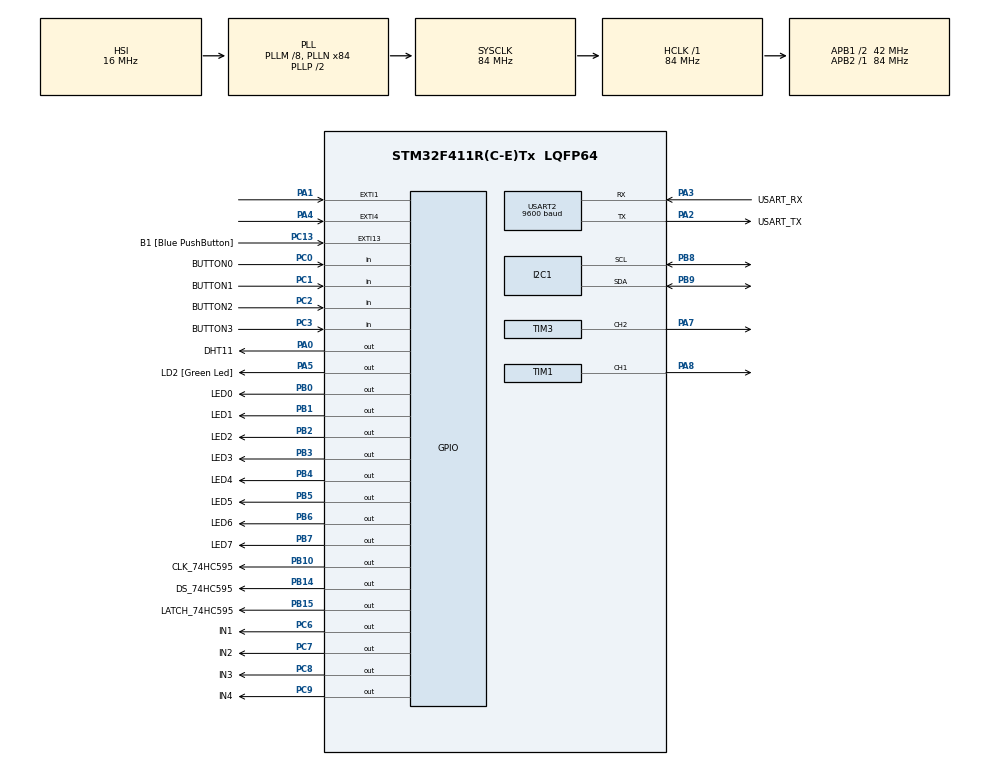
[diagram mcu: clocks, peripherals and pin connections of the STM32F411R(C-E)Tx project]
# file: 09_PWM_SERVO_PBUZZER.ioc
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FREERTOS.Tasks01=defaultTask,24,128,StartDefaultTask,Default,NULL,Dynamic,NULL,NULL;myTask01,8,128,StartTask01,Default,NULL,Dynamic,NULL,NULL;myTask02,8,128,StartTask02,Default,NULL,Dynamic,NULL,NULL
FREERTOS.configUSE_NEWLIB_REENTRANT=1
Mcu.Family=STM32F4
Mcu.Name=STM32F411R(C-E)Tx
Mcu.Package=LQFP64
NVIC.EXTI1_IRQn=true\:5\:0\:false\:false\:true\:true\:true\:true
NVIC.EXTI4_IRQn=true\:5\:0\:false\:false\:true\:true\:true\:true
NVIC.PriorityGroup=NVIC_PRIORITYGROUP_4
NVIC.TIM1_TRG_COM_TIM11_IRQn=true\:5\:0\:false\:false\:true\:true\:false\:true
NVIC.TIM1_UP_TIM10_IRQn=true\:5\:0\:false\:false\:true\:true\:true\:true
NVIC.TimeBase=TIM1_TRG_COM_TIM11_IRQn
NVIC.TimeBaseIP=TIM11
NVIC.USART2_IRQn=true\:5\:0\:false\:false\:true\:true\:true\:true
PA0-WKUP.GPIO_Label=DHT11
PA0-WKUP.Signal=GPIO_Output
PA1.Signal=GPXTI1
PA13.GPIO_Label=TMS
PA13.Mode=Serial_Wire
PA13.Signal=SYS_JTMS-SWDIO
PA14.GPIO_Label=TCK
PA14.Mode=Serial_Wire
PA14.Signal=SYS_JTCK-SWCLK
PA2.GPIO_Label=USART_TX
PA2.Mode=Asynchronous
PA2.Signal=USART2_TX
PA3.GPIO_Label=USART_RX
PA3.Mode=Asynchronous
PA3.Signal=USART2_RX
PA4.Signal=GPXTI4
PA5.GPIO_Label=LD2 [Green Led]
PA5.Signal=GPIO_Output
PA7.Signal=S_TIM3_CH2
PA8.Signal=S_TIM1_CH1
PB0.GPIO_Label=LED0
PB0.Signal=GPIO_Output
PB1.GPIO_Label=LED1
PB1.Signal=GPIO_Output
PB10.GPIO_Label=CLK_74HC595
PB10.Signal=GPIO_Output
PB14.GPIO_Label=DS_74HC595
PB14.Signal=GPIO_Output
PB15.GPIO_Label=LATCH_74HC595
PB15.Signal=GPIO_Output
PB2.GPIO_Label=LED2
PB2.Signal=GPIO_Output
PB3.GPIO_Label=LED3
PB3.Signal=GPIO_Output
PB4.GPIO_Label=LED4
PB4.Signal=GPIO_Output
PB5.GPIO_Label=LED5
PB5.Signal=GPIO_Output
PB6.GPIO_Label=LED6
PB6.Signal=GPIO_Output
PB7.GPIO_Label=LED7
PB7.Signal=GPIO_Output
PB8.Mode=I2C
PB8.Signal=I2C1_SCL
PB9.Mode=I2C
PB9.Signal=I2C1_SDA
PC0.GPIO_Label=BUTTON0
PC0.Signal=GPIO_Input
PC1.GPIO_Label=BUTTON1
PC1.Signal=GPIO_Input
PC13-ANTI_TAMP.GPIO_Label=B1 [Blue PushButton]
PC13-ANTI_TAMP.GPIO_ModeDefaultEXTI=GPIO_MODE_IT_FALLING
PC13-ANTI_TAMP.Signal=GPXTI13
PC14-OSC32_IN.Mode=LSE-External-Oscillator
PC14-OSC32_IN.Signal=RCC_OSC32_IN
PC15-OSC32_OUT.Mode=LSE-External-Oscillator
PC15-OSC32_OUT.Signal=RCC_OSC32_OUT
PC2.GPIO_Label=BUTTON2
PC2.Signal=GPIO_Input
PC3.GPIO_Label=BUTTON3
PC3.Signal=GPIO_Input
PC6.GPIO_Label=IN1
PC6.Signal=GPIO_Output
PC7.GPIO_Label=IN2
PC7.Signal=GPIO_Output
PC8.GPIO_Label=IN3
PC8.Signal=GPIO_Output
PC9.GPIO_Label=IN4
PC9.Signal=GPIO_Output
PH0\ -\ OSC_IN.Mode=HSE-External-Clock-Source
PH0\ -\ OSC_IN.Signal=RCC_OSC_IN
PH1\ -\ OSC_OUT.Mode=HSE-External-Clock-Source
PH1\ -\ OSC_OUT.Signal=RCC_OSC_OUT
ProjectManager.HeapSize=0x200
ProjectManager.StackSize=0x400
ProjectManager.TargetToolchain=STM32CubeIDE
RCC.48MHZClocksFreq_Value=42000000
RCC.AHBFreq_Value=84000000
RCC.APB1CLKDivider=RCC_HCLK_DIV2
RCC.APB1Freq_Value=42000000
RCC.APB1TimFreq_Value=84000000
RCC.APB2Freq_Value=84000000
RCC.APB2TimFreq_Value=84000000
RCC.CortexFreq_Value=84000000
RCC.FLatency-AdvancedSettings=FLASH_LATENCY_2
RCC.HCLKFreq_Value=84000000
RCC.HSE_VALUE=8000000
RCC.HSI_VALUE=16000000
RCC.PLLM=8
RCC.PLLN=84
RCC.SYSCLKFreq_VALUE=84000000
RCC.SYSCLKSource=RCC_SYSCLKSOURCE_PLLCLK
RCC.VCOOutputFreq_Value=168000000
RTC.Date=8
RTC.Hours=14
RTC.Minutes=38
RTC.Month=RTC_MONTH_OCTOBER
RTC.WeekDay=RTC_WEEKDAY_TUESDAY
SH.S_TIM1_CH1.0=TIM1_CH1,PWM Generation1 CH1
SH.S_TIM3_CH2.0=TIM3_CH2,PWM Generation2 CH2
TIM1.Channel-PWM\ Generation1\ CH1=TIM_CHANNEL_1
TIM1.Period=400-1
TIM1.Prescaler=52.5-1
TIM1.Pulse-PWM\ Generation1\ CH1=200-1
TIM10.Period=1000-1
TIM10.Prescaler=84-1
TIM2.Prescaler=84-1
TIM3.Channel-PWM\ Generation2\ CH2=TIM_CHANNEL_2
TIM3.Period=1000-1
TIM3.Prescaler=1680-1
USART2.BaudRate=9600
USART2.VirtualMode=VM_ASYNC
VP_FREERTOS_VS_CMSIS_V2.Mode=CMSIS_V2
VP_RTC_VS_RTC_Activate.Mode=RTC_Enabled
VP_RTC_VS_RTC_Calendar.Mode=RTC_Calendar
VP_SYS_VS_tim11.Mode=TIM11
VP_TIM10_VS_ClockSourceINT.Mode=Enable_Timer
VP_TIM1_VS_ClockSourceINT.Mode=Internal
VP_TIM2_VS_ClockSourceINT.Mode=Internal
VP_TIM3_VS_ClockSourceINT.Mode=Internal
board=NUCLEO-F411RE

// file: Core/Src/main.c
/* USER CODE BEGIN Header */
/**
  ******************************************************************************
  * @file           : main.c
  * @brief          : Main program body
  ******************************************************************************
  * @attention
  *
  * <h2><center>&copy; Copyright (c) 2024 STMicroelectronics.
  * All rights reserved.</center></h2>
  *
  * This software component is licensed by ST under BSD 3-Clause license,
  * the "License"; You may not use this file except in compliance with the
  * License. You may obtain a copy of the License at:
  *                        opensource.org/licenses/BSD-3-Clause
  *
  ******************************************************************************
  */
/* USER CODE END Header */
#include "main.h"
#include "cmsis_os.h"

I2C_HandleTypeDef hi2c1;

RTC_HandleTypeDef hrtc;

TIM_HandleTypeDef htim1;
TIM_HandleTypeDef htim2;
TIM_HandleTypeDef htim3;
TIM_HandleTypeDef htim10;

UART_HandleTypeDef huart2;

/* Definitions for defaultTask */
osThreadId_t defaultTaskHandle;
const osThreadAttr_t defaultTask_attributes = {
  .name = "defaultTask",
  .stack_size = 128 * 4,
  .priority = (osPriority_t) osPriorityNormal,
};
/* Definitions for myTask01 */
osThreadId_t myTask01Handle;
const osThreadAttr_t myTask01_attributes = {
  .name = "myTask01",
  .stack_size = 128 * 4,
  .priority = (osPriority_t) osPriorityLow,
};
/* Definitions for myTask02 */
osThreadId_t myTask02Handle;
const osThreadAttr_t myTask02_attributes = {
  .name = "myTask02",
  .stack_size = 128 * 4,
  .priority = (osPriority_t) osPriorityLow,
};
/* USER CODE BEGIN PV */
volatile int TIM10_1ms_counter = 0;  // ADD_PSJ_0930
volatile int TIM10_1ms_counter1 = 0;
volatile int TIM10_DHT11_counter = 0;
volatile int TIM10_servomotor_counter = 0;
uint8_t rx_data;
/* USER CODE END PV */

void SystemClock_Config(void);
static void MX_GPIO_Init(void);
static void MX_USART2_UART_Init(void);
static void MX_TIM10_Init(void);
static void MX_TIM2_Init(void);
static void MX_RTC_Init(void);
static void MX_I2C1_Init(void);
static void MX_TIM3_Init(void);
static void MX_TIM1_Init(void);
void StartDefaultTask(void *argument);
void StartTask01(void *argument);
void StartTask02(void *argument);

/* USER CODE BEGIN PFP */
extern void led_main(void);
extern void ledbar0_toggle(void);
extern void button_check(void);
extern void pc_command_processing(void);
extern void delay_us(unsigned int us);
//extern void DHT11_main(void);
extern void DHT11_processing(void);
extern void DHT11_Init(void);
extern void get_rtc_date_time(void);
//extern void i2c_lcd_main(void);
extern void i2c_lcd_init(void);
extern void dotmatrix_main_test();
extern int dotmatrix_main(void);
extern void init_dotmatrix(void);
extern int dotmatrix_main_func(void);
extern void init_arrow_up(void);
extern void init_arrow_down(void);
extern void arrow_display(void);
extern void stepmotor_main(void);
extern void stepmotor_forward(void);
extern void arrow_display_stepmotor(void);
extern void servomotor_main(void);
extern void servo_motor_control(void);
extern void buzzer_main();
//extern void playSong();
/* USER CODE END PFP */

/* USER CODE BEGIN 0 */
//------------ printf start -----------------------
#ifdef __GNUC__    // Add for printf
/* With GCC, small printf (option LD Linker->Libraries->Small printf
   set to 'Yes') calls __io_putchar() */
#define PUTCHAR_PROTOTYPE int __io_putchar(int ch)
#else
#define PUTCHAR_PROTOTYPE int fputc(int ch, FILE *f)
#endif /* __GNUC__ */
/**
  * @brief  Retargets the C library printf function to the USART.
  * @param  None
  * @retval None
  */
PUTCHAR_PROTOTYPE   // Add for printf
{
  /* Place your implementation of fputc here */
  /* e.g. write a character to the USART2 and Loop until the end of transmission */
  HAL_UART_Transmit(&huart2, (uint8_t *)&ch, 1, 0xFFFF);

  return ch;
}
//-------------------- printf end --------------------
/* USER CODE END 0 */

int main(void)
{

  /* MCU Configuration--------------------------------------------------------*/

  /* Reset of all peripherals, Initializes the Flash interface and the Systick. */
  HAL_Init();

  /* Configure the system clock */
  SystemClock_Config();

  /* Initialize all configured peripherals */
  MX_GPIO_Init();
  MX_USART2_UART_Init();
  MX_TIM10_Init();
  MX_TIM2_Init();
  MX_RTC_Init();
  MX_I2C1_Init();
  MX_TIM3_Init();
  MX_TIM1_Init();
  /* USER CODE BEGIN 2 */
  HAL_TIM_Base_Start_IT(&htim10); // ADD_0930
  HAL_TIM_Base_Start_IT(&htim2); // ADD_0930
  HAL_TIM_Base_Start_IT(&htim1); // ADD_0930
  HAL_TIM_PWM_Start(&htim3, TIM_CHANNEL_2); // Servo motor ADD_1017
  HAL_UART_Receive_IT(&huart2, &rx_data, 1);
  //playSong();
 buzzer_main();
//init_arrow_up();
//init_arrow_down();
//stepmotor_main();
//DHT11_Init();
//i2c_lcd_init();
//init_dotmatrix();
//dotmatrix_main();
//i2c_lcd_main(); // for checking LCD operation temporary.
//led_main(); // for checking LED operation temporary.
//DHT11_main(); // for checking DHT11 operation temporary.
//dotmatrix_main_test();

  /* USER CODE END 2 */

  /* Init scheduler */
  osKernelInitialize();

  /* Create the thread(s) */
  /* creation of defaultTask */
  defaultTaskHandle = osThreadNew(StartDefaultTask, NULL, &defaultTask_attributes);

  /* creation of myTask01 */
  myTask01Handle = osThreadNew(StartTask01, NULL, &myTask01_attributes);

  /* creation of myTask02 */
  myTask02Handle = osThreadNew(StartTask02, NULL, &myTask02_attributes);

  /* Start scheduler */
  osKernelStart();

  /* We should never get here as control is now taken by the scheduler */
  /* Infinite loop */
  /* USER CODE BEGIN WHILE */
  while (1)
  {
	  HAL_GPIO_TogglePin(GPIOA, GPIO_PIN_5); //Ctrl + Space
	  HAL_Delay(100);
    /* USER CODE END WHILE */

  }
}

void SystemClock_Config(void)
{
  RCC_OscInitTypeDef RCC_OscInitStruct = {0};
  RCC_ClkInitTypeDef RCC_ClkInitStruct = {0};

  /** Configure the main internal regulator output voltage
  */
  __HAL_RCC_PWR_CLK_ENABLE();
  __HAL_PWR_VOLTAGESCALING_CONFIG(PWR_REGULATOR_VOLTAGE_SCALE1);
  /** Initializes the RCC Oscillators according to the specified parameters
  * in the RCC_OscInitTypeDef structure.
  */
  RCC_OscInitStruct.OscillatorType = RCC_OSCILLATORTYPE_HSI|RCC_OSCILLATORTYPE_LSI;
  RCC_OscInitStruct.HSIState = RCC_HSI_ON;
  RCC_OscInitStruct.HSICalibrationValue = RCC_HSICALIBRATION_DEFAULT;
  RCC_OscInitStruct.LSIState = RCC_LSI_ON;
  RCC_OscInitStruct.PLL.PLLState = RCC_PLL_ON;
  RCC_OscInitStruct.PLL.PLLSource = RCC_PLLSOURCE_HSI;
  RCC_OscInitStruct.PLL.PLLM = 8;
  RCC_OscInitStruct.PLL.PLLN = 84;
  RCC_OscInitStruct.PLL.PLLP = RCC_PLLP_DIV2;
  RCC_OscInitStruct.PLL.PLLQ = 4;
  if (HAL_RCC_OscConfig(&RCC_OscInitStruct) != HAL_OK)
  {
    Error_Handler();
  }
  /** Initializes the CPU, AHB and APB buses clocks
  */
  RCC_ClkInitStruct.ClockType = RCC_CLOCKTYPE_HCLK|RCC_CLOCKTYPE_SYSCLK
                              |RCC_CLOCKTYPE_PCLK1|RCC_CLOCKTYPE_PCLK2;
  RCC_ClkInitStruct.SYSCLKSource = RCC_SYSCLKSOURCE_PLLCLK;
  RCC_ClkInitStruct.AHBCLKDivider = RCC_SYSCLK_DIV1;
  RCC_ClkInitStruct.APB1CLKDivider = RCC_HCLK_DIV2;
  RCC_ClkInitStruct.APB2CLKDivider = RCC_HCLK_DIV1;

  if (HAL_RCC_ClockConfig(&RCC_ClkInitStruct, FLASH_LATENCY_2) != HAL_OK)
  {
    Error_Handler();
  }
}

static void MX_I2C1_Init(void)
{

  hi2c1.Instance = I2C1;
  hi2c1.Init.ClockSpeed = 100000;
  hi2c1.Init.DutyCycle = I2C_DUTYCYCLE_2;
  hi2c1.Init.OwnAddress1 = 0;
  hi2c1.Init.AddressingMode = I2C_ADDRESSINGMODE_7BIT;
  hi2c1.Init.DualAddressMode = I2C_DUALADDRESS_DISABLE;
  hi2c1.Init.OwnAddress2 = 0;
  hi2c1.Init.GeneralCallMode = I2C_GENERALCALL_DISABLE;
  hi2c1.Init.NoStretchMode = I2C_NOSTRETCH_DISABLE;
  if (HAL_I2C_Init(&hi2c1) != HAL_OK)
  {
    Error_Handler();
  }

}

static void MX_RTC_Init(void)
{

  RTC_TimeTypeDef sTime = {0};
  RTC_DateTypeDef sDate = {0};

  /** Initialize RTC Only
  */
  hrtc.Instance = RTC;
  hrtc.Init.HourFormat = RTC_HOURFORMAT_24;
  hrtc.Init.AsynchPrediv = 127;
  hrtc.Init.SynchPrediv = 255;
  hrtc.Init.OutPut = RTC_OUTPUT_DISABLE;
  hrtc.Init.OutPutPolarity = RTC_OUTPUT_POLARITY_HIGH;
  hrtc.Init.OutPutType = RTC_OUTPUT_TYPE_OPENDRAIN;
  if (HAL_RTC_Init(&hrtc) != HAL_OK)
  {
    Error_Handler();
  }

  /** Initialize RTC and set the Time and Date
  */
  sTime.Hours = 0x14;
  sTime.Minutes = 0x38;
  sTime.Seconds = 0x0;
  sTime.DayLightSaving = RTC_DAYLIGHTSAVING_NONE;
  sTime.StoreOperation = RTC_STOREOPERATION_RESET;
  if (HAL_RTC_SetTime(&hrtc, &sTime, RTC_FORMAT_BCD) != HAL_OK)
  {
    Error_Handler();
  }
  sDate.WeekDay = RTC_WEEKDAY_TUESDAY;
  sDate.Month = RTC_MONTH_OCTOBER;
  sDate.Date = 0x8;
  sDate.Year = 0x0;

  if (HAL_RTC_SetDate(&hrtc, &sDate, RTC_FORMAT_BCD) != HAL_OK)
  {
    Error_Handler();
  }

}

static void MX_TIM1_Init(void)
{

  TIM_ClockConfigTypeDef sClockSourceConfig = {0};
  TIM_MasterConfigTypeDef sMasterConfig = {0};
  TIM_OC_InitTypeDef sConfigOC = {0};
  TIM_BreakDeadTimeConfigTypeDef sBreakDeadTimeConfig = {0};

  htim1.Instance = TIM1;
  htim1.Init.Prescaler = 52.5-1;
  htim1.Init.CounterMode = TIM_COUNTERMODE_UP;
  htim1.Init.Period = 400-1;
  htim1.Init.ClockDivision = TIM_CLOCKDIVISION_DIV1;
  htim1.Init.RepetitionCounter = 0;
  htim1.Init.AutoReloadPreload = TIM_AUTORELOAD_PRELOAD_DISABLE;
  if (HAL_TIM_Base_Init(&htim1) != HAL_OK)
  {
    Error_Handler();
  }
  sClockSourceConfig.ClockSource = TIM_CLOCKSOURCE_INTERNAL;
  if (HAL_TIM_ConfigClockSource(&htim1, &sClockSourceConfig) != HAL_OK)
  {
    Error_Handler();
  }
  if (HAL_TIM_PWM_Init(&htim1) != HAL_OK)
  {
    Error_Handler();
  }
  sMasterConfig.MasterOutputTrigger = TIM_TRGO_RESET;
  sMasterConfig.MasterSlaveMode = TIM_MASTERSLAVEMODE_DISABLE;
  if (HAL_TIMEx_MasterConfigSynchronization(&htim1, &sMasterConfig) != HAL_OK)
  {
    Error_Handler();
  }
  sConfigOC.OCMode = TIM_OCMODE_PWM1;
  sConfigOC.Pulse = 200-1;
  sConfigOC.OCPolarity = TIM_OCPOLARITY_HIGH;
  sConfigOC.OCNPolarity = TIM_OCNPOLARITY_HIGH;
  sConfigOC.OCFastMode = TIM_OCFAST_DISABLE;
  sConfigOC.OCIdleState = TIM_OCIDLESTATE_RESET;
  sConfigOC.OCNIdleState = TIM_OCNIDLESTATE_RESET;
  if (HAL_TIM_PWM_ConfigChannel(&htim1, &sConfigOC, TIM_CHANNEL_1) != HAL_OK)
  {
    Error_Handler();
  }
  sBreakDeadTimeConfig.OffStateRunMode = TIM_OSSR_DISABLE;
  sBreakDeadTimeConfig.OffStateIDLEMode = TIM_OSSI_DISABLE;
  sBreakDeadTimeConfig.LockLevel = TIM_LOCKLEVEL_OFF;
  sBreakDeadTimeConfig.DeadTime = 0;
  sBreakDeadTimeConfig.BreakState = TIM_BREAK_DISABLE;
  sBreakDeadTimeConfig.BreakPolarity = TIM_BREAKPOLARITY_HIGH;
  sBreakDeadTimeConfig.AutomaticOutput = TIM_AUTOMATICOUTPUT_DISABLE;
  if (HAL_TIMEx_ConfigBreakDeadTime(&htim1, &sBreakDeadTimeConfig) != HAL_OK)
  {
    Error_Handler();
  }
  HAL_TIM_MspPostInit(&htim1);

}

static void MX_TIM2_Init(void)
{

  TIM_ClockConfigTypeDef sClockSourceConfig = {0};
  TIM_MasterConfigTypeDef sMasterConfig = {0};

  htim2.Instance = TIM2;
  htim2.Init.Prescaler = 84-1;
  htim2.Init.CounterMode = TIM_COUNTERMODE_UP;
  htim2.Init.Period = 4294967295;
  htim2.Init.ClockDivision = TIM_CLOCKDIVISION_DIV1;
  htim2.Init.AutoReloadPreload = TIM_AUTORELOAD_PRELOAD_DISABLE;
  if (HAL_TIM_Base_Init(&htim2) != HAL_OK)
  {
    Error_Handler();
  }
  sClockSourceConfig.ClockSource = TIM_CLOCKSOURCE_INTERNAL;
  if (HAL_TIM_ConfigClockSource(&htim2, &sClockSourceConfig) != HAL_OK)
  {
    Error_Handler();
  }
  sMasterConfig.MasterOutputTrigger = TIM_TRGO_RESET;
  sMasterConfig.MasterSlaveMode = TIM_MASTERSLAVEMODE_DISABLE;
  if (HAL_TIMEx_MasterConfigSynchronization(&htim2, &sMasterConfig) != HAL_OK)
  {
    Error_Handler();
  }

}

static void MX_TIM3_Init(void)
{

  TIM_ClockConfigTypeDef sClockSourceConfig = {0};
  TIM_MasterConfigTypeDef sMasterConfig = {0};
  TIM_OC_InitTypeDef sConfigOC = {0};

  htim3.Instance = TIM3;
  htim3.Init.Prescaler = 1680-1;
  htim3.Init.CounterMode = TIM_COUNTERMODE_UP;
  htim3.Init.Period = 1000-1;
  htim3.Init.ClockDivision = TIM_CLOCKDIVISION_DIV1;
  htim3.Init.AutoReloadPreload = TIM_AUTORELOAD_PRELOAD_DISABLE;
  if (HAL_TIM_Base_Init(&htim3) != HAL_OK)
  {
    Error_Handler();
  }
  sClockSourceConfig.ClockSource = TIM_CLOCKSOURCE_INTERNAL;
  if (HAL_TIM_ConfigClockSource(&htim3, &sClockSourceConfig) != HAL_OK)
  {
    Error_Handler();
  }
  if (HAL_TIM_PWM_Init(&htim3) != HAL_OK)
  {
    Error_Handler();
  }
  sMasterConfig.MasterOutputTrigger = TIM_TRGO_RESET;
  sMasterConfig.MasterSlaveMode = TIM_MASTERSLAVEMODE_DISABLE;
  if (HAL_TIMEx_MasterConfigSynchronization(&htim3, &sMasterConfig) != HAL_OK)
  {
    Error_Handler();
  }
  sConfigOC.OCMode = TIM_OCMODE_PWM1;
  sConfigOC.Pulse = 0;
  sConfigOC.OCPolarity = TIM_OCPOLARITY_HIGH;
  sConfigOC.OCFastMode = TIM_OCFAST_DISABLE;
  if (HAL_TIM_PWM_ConfigChannel(&htim3, &sConfigOC, TIM_CHANNEL_2) != HAL_OK)
  {
    Error_Handler();
  }
  HAL_TIM_MspPostInit(&htim3);

}

static void MX_TIM10_Init(void)
{

  htim10.Instance = TIM10;
  htim10.Init.Prescaler = 84-1;
  htim10.Init.CounterMode = TIM_COUNTERMODE_UP;
  htim10.Init.Period = 1000-1;
  htim10.Init.ClockDivision = TIM_CLOCKDIVISION_DIV1;
  htim10.Init.AutoReloadPreload = TIM_AUTORELOAD_PRELOAD_DISABLE;
  if (HAL_TIM_Base_Init(&htim10) != HAL_OK)
  {
    Error_Handler();
  }

}

static void MX_USART2_UART_Init(void)
{

  huart2.Instance = USART2;
  huart2.Init.BaudRate = 9600;
  huart2.Init.WordLength = UART_WORDLENGTH_8B;
  huart2.Init.StopBits = UART_STOPBITS_1;
  huart2.Init.Parity = UART_PARITY_NONE;
  huart2.Init.Mode = UART_MODE_TX_RX;
  huart2.Init.HwFlowCtl = UART_HWCONTROL_NONE;
  huart2.Init.OverSampling = UART_OVERSAMPLING_16;
  if (HAL_UART_Init(&huart2) != HAL_OK)
  {
    Error_Handler();
  }

}

static void MX_GPIO_Init(void)
{
  GPIO_InitTypeDef GPIO_InitStruct = {0};

  /* GPIO Ports Clock Enable */
  __HAL_RCC_GPIOC_CLK_ENABLE();
  __HAL_RCC_GPIOH_CLK_ENABLE();
  __HAL_RCC_GPIOA_CLK_ENABLE();
  __HAL_RCC_GPIOB_CLK_ENABLE();

  /*Configure GPIO pin Output Level */
  HAL_GPIO_WritePin(GPIOA, DHT11_Pin|LD2_Pin, GPIO_PIN_RESET);

  /*Configure GPIO pin Output Level */
  HAL_GPIO_WritePin(GPIOB, LED0_Pin|LED1_Pin|LED2_Pin|CLK_74HC595_Pin
                          |DS_74HC595_Pin|LATCH_74HC595_Pin|LED3_Pin|LED4_Pin
                          |LED5_Pin|LED6_Pin|LED7_Pin, GPIO_PIN_RESET);

  /*Configure GPIO pin Output Level */
  HAL_GPIO_WritePin(GPIOC, IN1_Pin|IN2_Pin|IN3_Pin|IN4_Pin, GPIO_PIN_RESET);

  /*Configure GPIO pin : B1_Pin */
  GPIO_InitStruct.Pin = B1_Pin;
  GPIO_InitStruct.Mode = GPIO_MODE_IT_FALLING;
  GPIO_InitStruct.Pull = GPIO_NOPULL;
  HAL_GPIO_Init(B1_GPIO_Port, &GPIO_InitStruct);

  /*Configure GPIO pins : BUTTON0_Pin BUTTON1_Pin BUTTON2_Pin BUTTON3_Pin */
  GPIO_InitStruct.Pin = BUTTON0_Pin|BUTTON1_Pin|BUTTON2_Pin|BUTTON3_Pin;
  GPIO_InitStruct.Mode = GPIO_MODE_INPUT;
  GPIO_InitStruct.Pull = GPIO_NOPULL;
  HAL_GPIO_Init(GPIOC, &GPIO_InitStruct);

  /*Configure GPIO pins : DHT11_Pin LD2_Pin */
  GPIO_InitStruct.Pin = DHT11_Pin|LD2_Pin;
  GPIO_InitStruct.Mode = GPIO_MODE_OUTPUT_PP;
  GPIO_InitStruct.Pull = GPIO_NOPULL;
  GPIO_InitStruct.Speed = GPIO_SPEED_FREQ_LOW;
  HAL_GPIO_Init(GPIOA, &GPIO_InitStruct);

  /*Configure GPIO pins : PA1 PA4 */
  GPIO_InitStruct.Pin = GPIO_PIN_1|GPIO_PIN_4;
  GPIO_InitStruct.Mode = GPIO_MODE_IT_RISING;
  GPIO_InitStruct.Pull = GPIO_NOPULL;
  HAL_GPIO_Init(GPIOA, &GPIO_InitStruct);

  /*Configure GPIO pins : LED0_Pin LED1_Pin LED2_Pin CLK_74HC595_Pin
                           DS_74HC595_Pin LATCH_74HC595_Pin LED3_Pin LED4_Pin
                           LED5_Pin LED6_Pin LED7_Pin */
  GPIO_InitStruct.Pin = LED0_Pin|LED1_Pin|LED2_Pin|CLK_74HC595_Pin
                          |DS_74HC595_Pin|LATCH_74HC595_Pin|LED3_Pin|LED4_Pin
                          |LED5_Pin|LED6_Pin|LED7_Pin;
  GPIO_InitStruct.Mode = GPIO_MODE_OUTPUT_PP;
  GPIO_InitStruct.Pull = GPIO_NOPULL;
  GPIO_InitStruct.Speed = GPIO_SPEED_FREQ_LOW;
  HAL_GPIO_Init(GPIOB, &GPIO_InitStruct);

  /*Configure GPIO pins : IN1_Pin IN2_Pin IN3_Pin IN4_Pin */
  GPIO_InitStruct.Pin = IN1_Pin|IN2_Pin|IN3_Pin|IN4_Pin;
  GPIO_InitStruct.Mode = GPIO_MODE_OUTPUT_PP;
  GPIO_InitStruct.Pull = GPIO_NOPULL;
  GPIO_InitStruct.Speed = GPIO_SPEED_FREQ_LOW;
  HAL_GPIO_Init(GPIOC, &GPIO_InitStruct);

  /* EXTI interrupt init*/
  HAL_NVIC_SetPriority(EXTI1_IRQn, 5, 0);
  HAL_NVIC_EnableIRQ(EXTI1_IRQn);

  HAL_NVIC_SetPriority(EXTI4_IRQn, 5, 0);
  HAL_NVIC_EnableIRQ(EXTI4_IRQn);

}

void StartDefaultTask(void *argument)
{
  /* USER CODE BEGIN 5 */
  /* Infinite loop */
  for(;;)
  {
	  //servomotor_main();
	//button_check();
	//DHT11_processing();
    osDelay(1);
  }
  /* USER CODE END 5 */
}

void StartTask01(void *argument)
{
  /* USER CODE BEGIN StartTask01 */
  /* Infinite loop */
  for(;;)
  {
#if 1
	  //arrow_display_stepmotor();
	  //arrow_display();
	  //dotmatrix_main_func();
	  //get_rtc_date_time();
#else
	  //ledbar0_toggle();
	  HAL_GPIO_TogglePin(GPIOA, GPIO_PIN_5);
	  delay_us(50000); // 50ms
#endif
	  osDelay(1);
  }
  /* USER CODE END StartTask01 */
}

void StartTask02(void *argument)
{
  /* USER CODE BEGIN StartTask02 */
  /* Infinite loop */
	for(;;)
	{
		servo_motor_control();
		//stepmotor_main();
		//HAL_GPIO_TogglePin(GPIOA, GPIO_PIN_5); //Ctrl + Space
#if 0 // use timer/counter
		if( TIM10_1ms_counter >= 50)
		{
			HAL_GPIO_TogglePin(GPIOA, GPIO_PIN_5);
			TIM10_1ms_counter = 0;
		}
#endif
		//pc_command_processing();
		//led_main();
		osDelay(1);
	}
  /* USER CODE END StartTask02 */
}

void HAL_TIM_PeriodElapsedCallback(TIM_HandleTypeDef *htim)
{
  if (htim->Instance == TIM11) {
    HAL_IncTick();
  }
  /* USER CODE BEGIN Callback 1 */
  if (htim->Instance == TIM10) { // add PSJ 0930
      TIM10_1ms_counter++;
      TIM10_1ms_counter1++;
      TIM10_DHT11_counter++;
      TIM10_servomotor_counter++;
   }
  /* USER CODE END Callback 1 */
}

void Error_Handler(void)
{
  __disable_irq();
  while (1)
  {
  }
}

/************************ (C) COPYRIGHT STMicroelectronics *****END OF FILE****/
